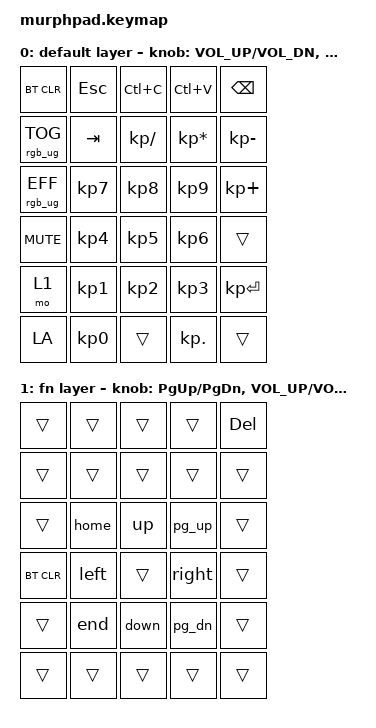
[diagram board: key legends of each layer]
/*
 * Copyright (c) 2021 Kyle McCreery
 *
 * SPDX-License-Identifier: MIT
 */

#include <behaviors.dtsi>
#include <dt-bindings/zmk/keys.h>
#include <dt-bindings/zmk/bt.h>
#include <dt-bindings/zmk/outputs.h>
#include <dt-bindings/zmk/rgb.h>

#define TIMEOUT 300

/* Layer Names*/
#define DEFAULT 0
#define FN      1

&encoder_1 {
    status = "okay";
};

&encoder_2 {
    status = "okay";
};

/* Combo Definitions*/
/ {
    combos {
        compatible = "zmk,combos";
        combo_btclr {
            timeout-ms = <TIMEOUT>;
            key-positions = <1 6>;
            bindings = <&bt BT_CLR>;
        };
        combo_reset {
            timeout-ms = <TIMEOUT>;
            key-positions = <1 3>;
            bindings = <&sys_reset>;
        };
        combo_bootloader {
            timeout-ms = <TIMEOUT>;
            key-positions = <1 2>;
            bindings = <&bootloader>;
        };
        combo_bt_nxt {
            timeout-ms = <TIMEOUT>;
            key-positions = <1 4>;
            bindings = <&bt BT_NXT>;
        };
    };

    sensors {
        compatible = "zmk,keymap-sensors";
        sensors = <&encoder_1 &encoder_2>;
    };


    keymap0: keymap {
        compatible = "zmk,keymap";

        default_layer {
        label = "default layer";
            bindings = <
                &bt BT_CLR       &kp ESC      &kp LC(C)          &kp LC(V)         &kp BSPC   
                &rgb_ug RGB_TOG  &kp TAB      &kp KP_DIVIDE   &kp KP_MULTIPLY   &kp KP_MINUS    
                &rgb_ug RGB_EFF  &kp KP_N7    &kp KP_N8       &kp KP_N9         &kp KP_PLUS   
                &kp C_MUTE       &kp KP_N4    &kp KP_N5       &kp KP_N6         &trans
                &mo 1            &kp KP_N1    &kp KP_N2       &kp KP_N3         &kp KP_ENTER
                &kp LA           &kp KP_N0    &trans          &kp KP_DOT        &trans
            >;
            sensor-bindings = <&inc_dec_kp C_VOL_UP C_VOL_DN &inc_dec_kp PG_UP PG_DN>;

        }; 

        fn_layer {
        label = "fn layer";
            bindings = <
                &trans      &trans  &trans     &trans       &kp DEL  
                &trans      &trans &trans        &trans          &trans     
                &trans      &kp home     &kp up        &kp pg_up         &trans
                &bt BT_CLR  &kp left     &trans        &kp right          &trans    
                &trans      &kp end     &kp down        &kp pg_dn          &trans
                &trans      &trans     &trans        &trans          &trans           
            >;  
            sensor-bindings = <&inc_dec_kp PG_UP PG_DN &inc_dec_kp C_VOL_UP C_VOL_DN>;

        };
    };
};
